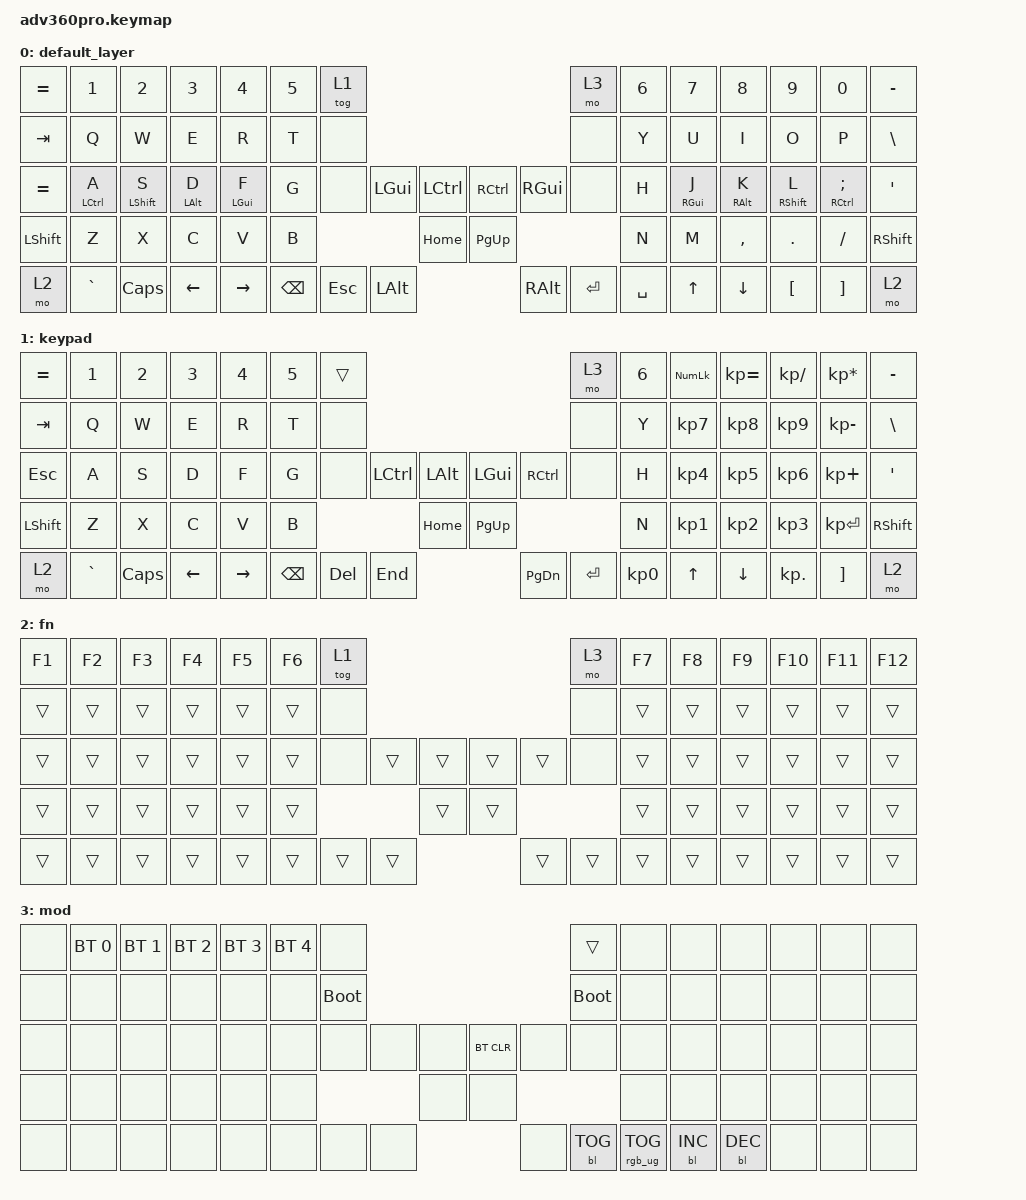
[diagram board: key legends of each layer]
#include <behaviors.dtsi>
#include <dt-bindings/zmk/keys.h>
#include <dt-bindings/zmk/bt.h>
#include <dt-bindings/zmk/rgb.h>
#include <dt-bindings/zmk/backlight.h>

/ {
    behaviors {
      hml: home_row_mod_left {
          compatible = "zmk,behavior-hold-tap";
          #binding-cells = <2>;
          flavor = "balanced";
          require-prior-idle-ms = <150>;
          tapping-term-ms = <200>;
          quick-tap-ms = <175>;
          bindings = <&kp>, <&kp>;
          hold-trigger-key-positions = <22 23 24 25 26>;
          hold-trigger-on-release;
      };
      hmr: home_row_mod_right {
          compatible = "zmk,behavior-hold-tap";
          #binding-cells = <2>;
          flavor = "balanced";
          require-prior-idle-ms = <150>;
          tapping-term-ms = <200>;
          quick-tap-ms = <175>;
          bindings = <&kp>, <&kp>;
          hold-trigger-key-positions = <41 42 43 44>;
          hold-trigger-on-release;
      };
    };
    keymap {
      compatible = "zmk,keymap";

      default_layer {
        bindings = <
          &kp EQUAL &kp N1       &kp N2       &kp N3      &kp N4      &kp N5 &tog 1                                                           &mo 3 &kp N6 &kp N7      &kp N8      &kp N9       &kp N0          &kp MINUS
          &kp TAB   &kp Q        &kp W        &kp E       &kp R       &kp T  &none                                                            &none &kp Y  &kp U       &kp I       &kp O        &kp P           &kp BSLH
          &kp EQUAL &hml LCTRL A &hml LSHFT S &hml LALT D &hml LGUI F &kp G  &none           &kp LGUI  &kp LCTRL &kp RCTRL &kp RGUI           &none &kp H  &hmr RGUI J &hmr RALT K &hmr RSHFT L &hmr RCTRL SEMI &kp SQT
          &kp LSHFT &kp Z        &kp X        &kp C       &kp V       &kp B                            &kp HOME  &kp PG_UP                          &kp N  &kp M       &kp COMMA   &kp DOT      &kp FSLH        &kp RSHFT
          &mo 2     &kp GRAVE    &kp CAPS     &kp LEFT    &kp RIGHT                   &kp BSPC &kp ESC &kp LALT  &kp RALT  &kp ENTER &kp SPACE             &kp UP      &kp DOWN    &kp LBKT     &kp RBKT        &mo 2
        >;
      };
      keypad {
        bindings = <
          &kp EQUAL &kp N1    &kp N2   &kp N3   &kp N4     &kp N5 &trans                                                           &mo 3 &kp N6 &kp KP_NUM &kp KP_EQUAL &kp KP_DIVIDE &kp KP_MULTIPLY &kp MINUS
          &kp TAB   &kp Q     &kp W    &kp E    &kp R      &kp T  &none                                                            &none &kp Y  &kp KP_N7  &kp KP_N8    &kp KP_N9     &kp KP_MINUS    &kp BSLH
          &kp ESC   &kp A     &kp S    &kp D    &kp F      &kp G  &none           &kp LCTRL &kp LALT &kp LGUI  &kp RCTRL           &none &kp H  &kp KP_N4  &kp KP_N5    &kp KP_N6     &kp KP_PLUS     &kp SQT
          &kp LSHFT &kp Z     &kp X    &kp C    &kp V      &kp B                            &kp HOME &kp PG_UP                           &kp N  &kp KP_N1  &kp KP_N2    &kp KP_N3     &kp KP_ENTER    &kp RSHFT
          &mo 2     &kp GRAVE &kp CAPS &kp LEFT &kp RIGHT                &kp BSPC &kp DEL   &kp END  &kp PG_DN &kp ENTER &kp KP_N0              &kp UP     &kp DOWN     &kp KP_DOT    &kp RBKT        &mo 2
        >;
      };
      fn {
        bindings = <
          &kp F1 &kp F2 &kp F3 &kp F4 &kp F5 &kp F6 &tog 1                                           &mo 3 &kp F7 &kp F8 &kp F9 &kp F10 &kp F11 &kp F12
          &trans &trans &trans &trans &trans &trans  &none                                           &none &trans &trans &trans &trans  &trans  &trans
          &trans &trans &trans &trans &trans &trans  &none        &trans &trans &trans &trans        &none &trans &trans &trans &trans  &trans  &trans
          &trans &trans &trans &trans &trans &trans                      &trans &trans                     &trans &trans &trans &trans  &trans  &trans
          &trans &trans &trans &trans &trans               &trans &trans &trans &trans &trans &trans              &trans &trans &trans  &trans  &trans
        >;
      };
      mod {
        bindings = <
          &none &bt BT_SEL 0 &bt BT_SEL 1 &bt BT_SEL 2 &bt BT_SEL 3 &bt BT_SEL 4 &none                                                               &trans      &none &none      &none      &none &none &none
          &none &none        &none        &none        &none        &none        &bootloader                                                         &bootloader &none &none      &none      &none &none &none
          &none &none        &none        &none        &none        &none        &none             &none &none &bt BT_CLR &none                      &none       &none &none      &none      &none &none &none
          &none &none        &none        &none        &none        &none                                &none &none                                             &none &none      &none      &none &none &none
          &none &none        &none        &none        &none                                 &none &none &none &none      &bl BL_TOG &rgb_ug RGB_TOG                   &bl BL_INC &bl BL_DEC &none &none &none
        >;
      };
    };
};
